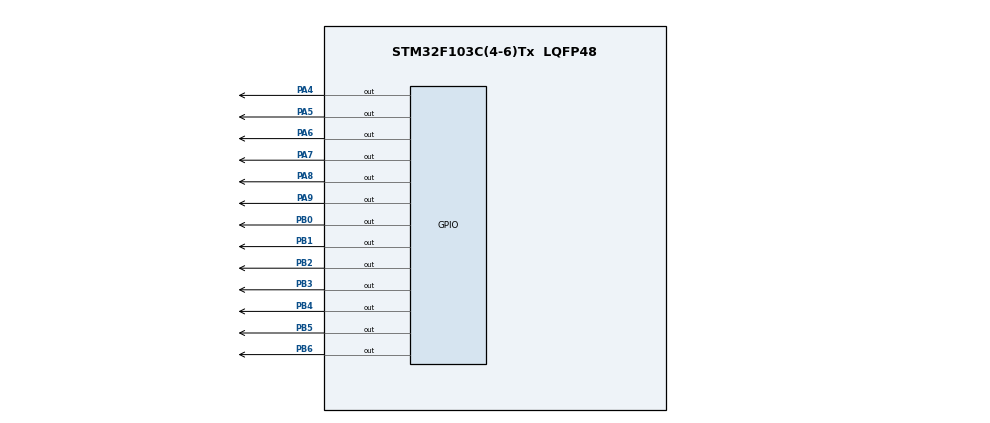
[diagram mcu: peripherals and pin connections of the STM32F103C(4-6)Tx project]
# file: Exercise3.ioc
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Mcu.Family=STM32F1
Mcu.Name=STM32F103C(4-6)Tx
Mcu.Package=LQFP48
NVIC.PriorityGroup=NVIC_PRIORITYGROUP_4
NVIC.TIM2_IRQn=true\:0\:0\:false\:false\:true\:true\:true
PA4.Signal=GPIO_Output
PA5.Signal=GPIO_Output
PA6.Signal=GPIO_Output
PA7.Signal=GPIO_Output
PA8.Signal=GPIO_Output
PA9.Signal=GPIO_Output
PB0.Signal=GPIO_Output
PB1.Signal=GPIO_Output
PB2.Signal=GPIO_Output
PB3.Signal=GPIO_Output
PB4.Signal=GPIO_Output
PB5.Signal=GPIO_Output
PB6.Signal=GPIO_Output
ProjectManager.HeapSize=0x200
ProjectManager.StackSize=0x400
ProjectManager.TargetToolchain=STM32CubeIDE
RCC.APB1Freq_Value=8000000
RCC.APB2Freq_Value=8000000
TIM2.Period=9
TIM2.Prescaler=7999
VP_SYS_VS_ND.Mode=No_Debug
VP_TIM2_VS_ClockSourceINT.Mode=Internal
board=custom

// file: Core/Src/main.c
/* USER CODE BEGIN Header */
/**
  ******************************************************************************
  * @file           : main.c
  * @brief          : Main program body
  ******************************************************************************
  * @attention
  *
  * <h2><center>&copy; Copyright (c) 2021 STMicroelectronics.
  * All rights reserved.</center></h2>
  *
  * This software component is licensed by ST under BSD 3-Clause license,
  * the "License"; You may not use this file except in compliance with the
  * License. You may obtain a copy of the License at:
  *                        opensource.org/licenses/BSD-3-Clause
  *
  ******************************************************************************
  */
/* USER CODE END Header */
#include "main.h"

TIM_HandleTypeDef htim2;

void SystemClock_Config(void);
static void MX_GPIO_Init(void);
static void MX_TIM2_Init(void);

int main(void)
{

  /* MCU Configuration--------------------------------------------------------*/

  /* Reset of all peripherals, Initializes the Flash interface and the Systick. */
  HAL_Init();

  /* Configure the system clock */
  SystemClock_Config();

  /* Initialize all configured peripherals */
  MX_GPIO_Init();
  MX_TIM2_Init();
  /* USER CODE BEGIN 2 */
  HAL_TIM_Base_Start_IT (& htim2 );
  /* USER CODE END 2 */

  /* Infinite loop */
  while (1)
  {

  }
}

void SystemClock_Config(void)
{
  RCC_OscInitTypeDef RCC_OscInitStruct = {0};
  RCC_ClkInitTypeDef RCC_ClkInitStruct = {0};

  /** Initializes the RCC Oscillators according to the specified parameters
  * in the RCC_OscInitTypeDef structure.
  */
  RCC_OscInitStruct.OscillatorType = RCC_OSCILLATORTYPE_HSI;
  RCC_OscInitStruct.HSIState = RCC_HSI_ON;
  RCC_OscInitStruct.HSICalibrationValue = RCC_HSICALIBRATION_DEFAULT;
  RCC_OscInitStruct.PLL.PLLState = RCC_PLL_NONE;
  if (HAL_RCC_OscConfig(&RCC_OscInitStruct) != HAL_OK)
  {
    Error_Handler();
  }
  /** Initializes the CPU, AHB and APB buses clocks
  */
  RCC_ClkInitStruct.ClockType = RCC_CLOCKTYPE_HCLK|RCC_CLOCKTYPE_SYSCLK
                              |RCC_CLOCKTYPE_PCLK1|RCC_CLOCKTYPE_PCLK2;
  RCC_ClkInitStruct.SYSCLKSource = RCC_SYSCLKSOURCE_HSI;
  RCC_ClkInitStruct.AHBCLKDivider = RCC_SYSCLK_DIV1;
  RCC_ClkInitStruct.APB1CLKDivider = RCC_HCLK_DIV1;
  RCC_ClkInitStruct.APB2CLKDivider = RCC_HCLK_DIV1;

  if (HAL_RCC_ClockConfig(&RCC_ClkInitStruct, FLASH_LATENCY_0) != HAL_OK)
  {
    Error_Handler();
  }
}

static void MX_TIM2_Init(void)
{

  TIM_ClockConfigTypeDef sClockSourceConfig = {0};
  TIM_MasterConfigTypeDef sMasterConfig = {0};

  htim2.Instance = TIM2;
  htim2.Init.Prescaler = 7999;
  htim2.Init.CounterMode = TIM_COUNTERMODE_UP;
  htim2.Init.Period = 9;
  htim2.Init.ClockDivision = TIM_CLOCKDIVISION_DIV1;
  htim2.Init.AutoReloadPreload = TIM_AUTORELOAD_PRELOAD_DISABLE;
  if (HAL_TIM_Base_Init(&htim2) != HAL_OK)
  {
    Error_Handler();
  }
  sClockSourceConfig.ClockSource = TIM_CLOCKSOURCE_INTERNAL;
  if (HAL_TIM_ConfigClockSource(&htim2, &sClockSourceConfig) != HAL_OK)
  {
    Error_Handler();
  }
  sMasterConfig.MasterOutputTrigger = TIM_TRGO_RESET;
  sMasterConfig.MasterSlaveMode = TIM_MASTERSLAVEMODE_DISABLE;
  if (HAL_TIMEx_MasterConfigSynchronization(&htim2, &sMasterConfig) != HAL_OK)
  {
    Error_Handler();
  }

}

static void MX_GPIO_Init(void)
{
  GPIO_InitTypeDef GPIO_InitStruct = {0};

  /* GPIO Ports Clock Enable */
  __HAL_RCC_GPIOA_CLK_ENABLE();
  __HAL_RCC_GPIOB_CLK_ENABLE();

  /*Configure GPIO pin Output Level */
  HAL_GPIO_WritePin(GPIOA, GPIO_PIN_4|GPIO_PIN_5|GPIO_PIN_6|GPIO_PIN_7
                          |GPIO_PIN_8|GPIO_PIN_9, GPIO_PIN_SET);

  /*Configure GPIO pin Output Level */
  HAL_GPIO_WritePin(GPIOB, GPIO_PIN_0|GPIO_PIN_1|GPIO_PIN_2|GPIO_PIN_3
                          |GPIO_PIN_4|GPIO_PIN_5|GPIO_PIN_6, GPIO_PIN_SET);

  /*Configure GPIO pins : PA4 PA5 PA6 PA7
                           PA8 PA9 */
  GPIO_InitStruct.Pin = GPIO_PIN_4|GPIO_PIN_5|GPIO_PIN_6|GPIO_PIN_7
                          |GPIO_PIN_8|GPIO_PIN_9;
  GPIO_InitStruct.Mode = GPIO_MODE_OUTPUT_PP;
  GPIO_InitStruct.Pull = GPIO_NOPULL;
  GPIO_InitStruct.Speed = GPIO_SPEED_FREQ_LOW;
  HAL_GPIO_Init(GPIOA, &GPIO_InitStruct);

  /*Configure GPIO pins : PB0 PB1 PB2 PB3
                           PB4 PB5 PB6 */
  GPIO_InitStruct.Pin = GPIO_PIN_0|GPIO_PIN_1|GPIO_PIN_2|GPIO_PIN_3
                          |GPIO_PIN_4|GPIO_PIN_5|GPIO_PIN_6;
  GPIO_InitStruct.Mode = GPIO_MODE_OUTPUT_PP;
  GPIO_InitStruct.Pull = GPIO_NOPULL;
  GPIO_InitStruct.Speed = GPIO_SPEED_FREQ_LOW;
  HAL_GPIO_Init(GPIOB, &GPIO_InitStruct);

}

/* USER CODE BEGIN 4 */
int counter = 100;
void HAL_TIM_PeriodElapsedCallback ( TIM_HandleTypeDef * htim ){
	counter--;
	if( counter == 99) {

		HAL_GPIO_TogglePin(GPIOA,GPIO_PIN_4|GPIO_PIN_5);

		HAL_GPIO_WritePin(GPIOA, GPIO_PIN_6, 0);
		HAL_GPIO_WritePin(GPIOA, GPIO_PIN_7|GPIO_PIN_8|GPIO_PIN_9, 1);
		update7SEG(0);
	}
	if ( counter==75) {
		HAL_GPIO_WritePin(GPIOA, GPIO_PIN_7, 0);
		HAL_GPIO_WritePin(GPIOA, GPIO_PIN_6|GPIO_PIN_8|GPIO_PIN_9, 1);
		update7SEG(1);
	}

	if (counter==50){
		HAL_GPIO_WritePin(GPIOA,GPIO_PIN_8, 0);
		HAL_GPIO_WritePin(GPIOA, GPIO_PIN_6|GPIO_PIN_7|GPIO_PIN_9, 1);
		update7SEG(2);
	}
	if ( counter==25){
		HAL_GPIO_WritePin(GPIOA, GPIO_PIN_9, 0);
		HAL_GPIO_WritePin(GPIOA, GPIO_PIN_6|GPIO_PIN_7|GPIO_PIN_8, 1);
		update7SEG(3);
	}
	if (counter <=0 ){
		counter=100;
	}
}
void display7SEG(int num){
	if ( num==0 ) {
		HAL_GPIO_WritePin(GPIOB, GPIO_PIN_0|GPIO_PIN_1|GPIO_PIN_2|GPIO_PIN_3|GPIO_PIN_4|GPIO_PIN_5,0 );
		HAL_GPIO_WritePin(GPIOB, GPIO_PIN_6,1 );
	}
	if ( num==1 ) {
		HAL_GPIO_WritePin(GPIOB, GPIO_PIN_0|GPIO_PIN_3|GPIO_PIN_4|GPIO_PIN_5|GPIO_PIN_6, 1 );
		HAL_GPIO_WritePin(GPIOB, GPIO_PIN_1|GPIO_PIN_2, 0 );
	}
	if ( num==2 ) {
		HAL_GPIO_WritePin(GPIOB, GPIO_PIN_0|GPIO_PIN_1|GPIO_PIN_3|GPIO_PIN_4|GPIO_PIN_6,0 );
		HAL_GPIO_WritePin(GPIOB, GPIO_PIN_2|GPIO_PIN_5,1 );
	}
	if ( num==3 ) {
		HAL_GPIO_WritePin(GPIOB, GPIO_PIN_0|GPIO_PIN_1|GPIO_PIN_2|GPIO_PIN_3|GPIO_PIN_6,0 );
		HAL_GPIO_WritePin(GPIOB, GPIO_PIN_4|GPIO_PIN_5,1 );
	}
	if ( num==4 ) {
		HAL_GPIO_WritePin(GPIOB, GPIO_PIN_1|GPIO_PIN_2|GPIO_PIN_5|GPIO_PIN_6,0 );
		HAL_GPIO_WritePin(GPIOB, GPIO_PIN_0|GPIO_PIN_3|GPIO_PIN_4,1 );
	}
	if ( num==5 ) {
		HAL_GPIO_WritePin(GPIOB, GPIO_PIN_0|GPIO_PIN_2|GPIO_PIN_3|GPIO_PIN_5|GPIO_PIN_6,0 );
		HAL_GPIO_WritePin(GPIOB, GPIO_PIN_1|GPIO_PIN_4,1);
	}
	if ( num==6 ) {
		HAL_GPIO_WritePin(GPIOB, GPIO_PIN_0|GPIO_PIN_2|GPIO_PIN_3|GPIO_PIN_4|GPIO_PIN_5|GPIO_PIN_6,0 );
		HAL_GPIO_WritePin(GPIOB, GPIO_PIN_1,1 );
	}
	if ( num==7 ) {
		HAL_GPIO_WritePin(GPIOB, GPIO_PIN_0|GPIO_PIN_1|GPIO_PIN_2,0 );
		HAL_GPIO_WritePin(GPIOB, GPIO_PIN_3|GPIO_PIN_4|GPIO_PIN_5|GPIO_PIN_6,1 );
	}
	if ( num==8 ) {
		HAL_GPIO_WritePin(GPIOB, GPIO_PIN_0|GPIO_PIN_1|GPIO_PIN_2|GPIO_PIN_3|GPIO_PIN_4|GPIO_PIN_5|GPIO_PIN_6,0 );
	}
	if ( num==9 ) {
		HAL_GPIO_WritePin(GPIOB, GPIO_PIN_0|GPIO_PIN_1|GPIO_PIN_2|GPIO_PIN_3|GPIO_PIN_5|GPIO_PIN_6,0 );
		HAL_GPIO_WritePin(GPIOB, GPIO_PIN_4,1 );
	}
}

const int MAX_LED = 4;
 int index_led = 0;
 int led_buffer [4] = {1, 2, 3, 0};
 void update7SEG ( int index ){
	 switch ( index ){
	 case 0:
	 // Display the first 7 SEG with led_buffer [0]
		 display7SEG(led_buffer[0]);
	 break ;
	 case 1:
	 // Display the second 7 SEG with led_buffer [1]
		 display7SEG(led_buffer[1]);
	 break ;
	 case 2:
	 // Display the third 7 SEG with led_buffer [2]
		 display7SEG(led_buffer[2]);
	 break ;
	 case 3:
	 // Display the forth 7 SEG with led_buffer [3]
		 display7SEG(led_buffer[3]);
	 break ;

	 default:
	 	 break ;
 }
}
/* USER CODE END 4 */

void Error_Handler(void)
{
  __disable_irq();
  while (1)
  {
  }
}

/************************ (C) COPYRIGHT STMicroelectronics *****END OF FILE****/
